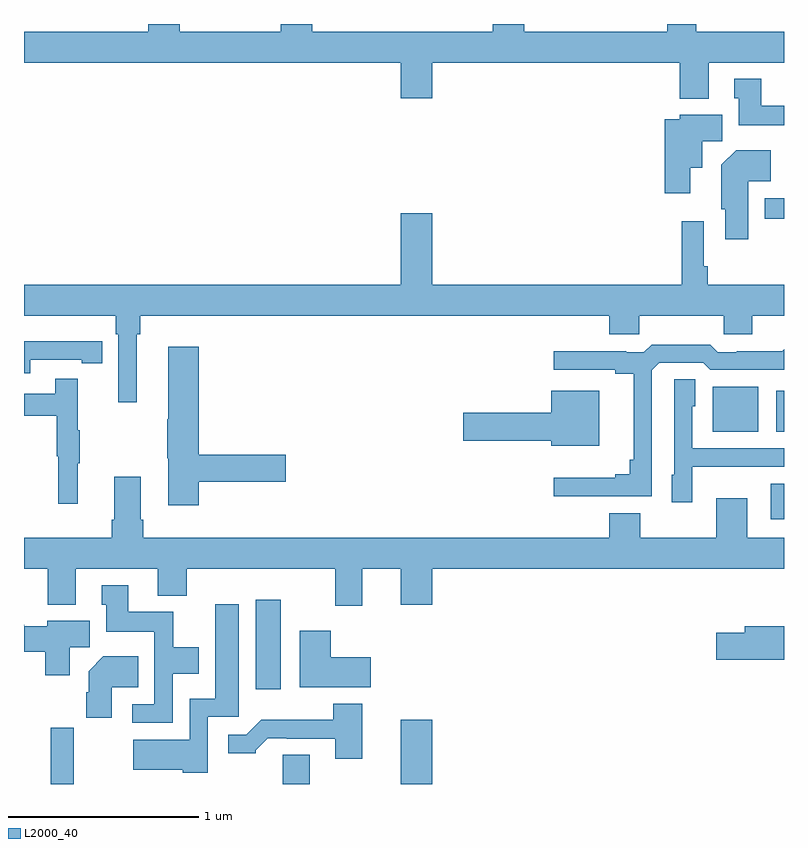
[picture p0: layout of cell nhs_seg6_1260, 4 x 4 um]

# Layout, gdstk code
import gdstk
lib = gdstk.Library(unit=1e-6, precision=1e-09)
def R(c, l, rs):  # rectangles x0, y0, x1, y1
    for r in rs: c.add(gdstk.rectangle(r[:2], r[2:], *l))
def P(c, l, *ps):  # polygons
    for p in ps: c.add(gdstk.Polygon(p, *l))
L2000_40 = (2000, 40)

nhs_seg6_1260 = lib.new_cell('nhs_seg6_1260')
R(nhs_seg6_1260, L2000_40, [(187.14,983.5,187.261,983.797), (188.363,983.5,188.503,983.654), (188.984,983.5,189.148,983.839), (188.219,984,188.35,984.469), (190.931,984.894,191,985.08), (190.625,985.355,190.864,985.591), (190.958,985.355,191,985.57), (190.899,986.475,191,986.583)])
P(nhs_seg6_1260, L2000_40, [(190.603,987.296),(191,987.296),(191,987.46),(190.537,987.46),(190.537,987.5),(190.385,987.5),(190.385,987.46),(189.632,987.46),(189.632,987.5),(189.467,987.5),(189.467,987.46),(188.516,987.46),(188.516,987.5),(188.351,987.5),(188.351,987.46),(187.82,987.46),(187.82,987.5),(187.655,987.5),(187.655,987.46),(187,987.46),(187,987.296),(188.984,987.296),(188.984,987.108),(189.148,987.108),(189.148,987.296),(190.451,987.296),(190.451,987.107),(190.603,987.107)],
  [(191,987.07),(190.879,987.07),(190.879,987.211),(190.739,987.211),(190.739,987.108),(190.763,987.108),(190.763,986.966),(191,986.966)],
  [(190.507,986.744),(190.57,986.744),(190.57,986.884),(190.675,986.884),(190.675,987.022),(190.452,987.022),(190.452,986.998),(190.373,986.998),(190.373,986.61),(190.507,986.61)],
  [(190.813,986.672),(190.931,986.672),(190.931,986.836),(190.748,986.836),(190.67,986.758),(190.67,986.526),(190.691,986.526),(190.691,986.367),(190.813,986.367)],
  [(187.594,985.868),(187.613,985.868),(187.613,985.964),(190.079,985.964),(190.079,985.866),(190.239,985.866),(190.239,985.964),(190.684,985.964),(190.684,985.866),(190.834,985.866),(190.834,985.964),(191,985.964),(191,986.128),(190.598,986.128),(190.598,986.224),(190.578,986.224),(190.578,986.461),(190.462,986.461),(190.462,986.128),(189.148,986.128),(189.148,986.503),(188.984,986.503),(188.984,986.128),(187,986.128),(187,985.964),(187.484,985.964),(187.484,985.868),(187.497,985.868),(187.497,985.509),(187.594,985.509)],
  [(187.032,985.734),(187.304,985.734),(187.304,985.714),(187.412,985.714),(187.412,985.83),(187.304,985.83),(187.304,985.831),(187,985.831),(187,985.662),(187.032,985.662)],
  [(190.305,985.677),(190.344,985.716),(190.575,985.716),(190.611,985.68),(191,985.68),(191,985.787),(190.991,985.778),(190.75,985.778),(190.75,985.773),(190.65,985.773),(190.611,985.813),(190.303,985.813),(190.263,985.773),(190.169,985.773),(190.169,985.778),(189.789,985.778),(189.789,985.68),(190.112,985.68),(190.112,985.658),(190.208,985.658),(190.208,985.207),(190.189,985.207),(190.189,985.13),(190.112,985.13),(190.112,985.111),(189.789,985.111),(189.789,985.014),(190.305,985.014)],
  [(187.919,985.09),(188.377,985.09),(188.377,985.232),(187.919,985.232),(187.919,985.801),(187.76,985.801),(187.76,985.421),(187.753,985.421),(187.753,985.215),(187.76,985.215),(187.76,984.966),(187.919,984.966)],
  [(187.283,985.187),(187.294,985.187),(187.294,985.361),(187.283,985.361),(187.283,985.633),(187.165,985.633),(187.165,985.554),(187,985.554),(187,985.438),(187.173,985.438),(187.173,985.224),(187.18,985.224),(187.18,984.975),(187.283,984.975)],
  [(190.518,985.169),(190.835,985.169),(190.835,985.17),(191,985.17),(191,985.266),(190.518,985.266),(190.518,985.488),(190.534,985.488),(190.534,985.631),(190.422,985.631),(190.422,985.128),(190.409,985.128),(190.409,984.984),(190.518,984.984)],
  [(190.027,985.57),(189.776,985.57),(189.776,985.454),(189.312,985.454),(189.312,985.307),(189.776,985.307),(189.776,985.28),(190.027,985.28)],
  [(188.779,984.632),(188.984,984.632),(188.984,984.444),(189.148,984.444),(189.148,984.632),(191,984.632),(191,984.796),(190.807,984.796),(190.807,985.003),(190.643,985.003),(190.643,984.796),(190.243,984.796),(190.243,984.925),(190.079,984.925),(190.079,984.796),(187.628,984.796),(187.628,984.892),(187.615,984.892),(187.615,985.117),(187.475,985.117),(187.475,984.892),(187.463,984.892),(187.463,984.796),(187,984.796),(187,984.632),(187.126,984.632),(187.126,984.443),(187.273,984.443),(187.273,984.632),(187.703,984.632),(187.703,984.491),(187.856,984.491),(187.856,984.632),(188.639,984.632),(188.639,984.438),(188.779,984.438)],
  [(187.782,984.08),(187.921,984.08),(187.921,984.22),(187.785,984.22),(187.785,984.406),(187.549,984.406),(187.549,984.547),(187.409,984.547),(187.409,984.444),(187.433,984.444),(187.433,984.302),(187.686,984.302),(187.686,983.919),(187.569,983.919),(187.569,983.823),(187.782,983.823)],
  [(187.968,983.853),(188.131,983.853),(188.131,984.445),(188.006,984.445),(188.006,983.95),(187.872,983.95),(187.872,983.734),(187.575,983.734),(187.575,983.576),(187.836,983.576),(187.836,983.558),(187.968,983.558)],
  [(187.24,984.22),(187.345,984.22),(187.345,984.358),(187.122,984.358),(187.122,984.331),(187.002,984.331),(187.002,984.339),(187,984.339),(187,984.197),(187.111,984.197),(187.111,984.072),(187.24,984.072)],
  [(191,984.331),(190.793,984.331),(190.793,984.297),(190.644,984.297),(190.644,984.155),(191,984.155)],
  [(188.824,984.166),(188.614,984.166),(188.614,984.307),(188.45,984.307),(188.45,984.008),(188.824,984.008)],
  [(187.462,984.008),(187.601,984.008),(187.601,984.172),(187.418,984.172),(187.34,984.094),(187.34,983.984),(187.328,983.984),(187.328,983.85),(187.462,983.85)],
  [(188.779,983.923),(188.627,983.923),(188.627,983.839),(188.248,983.839),(188.169,983.76),(188.076,983.76),(188.076,983.663),(188.22,983.663),(188.22,983.678),(188.284,983.742),(188.383,983.742),(188.383,983.739),(188.639,983.739),(188.639,983.634),(188.779,983.634)])

lib.write_gds('nhs_seg6_1260.gds')
